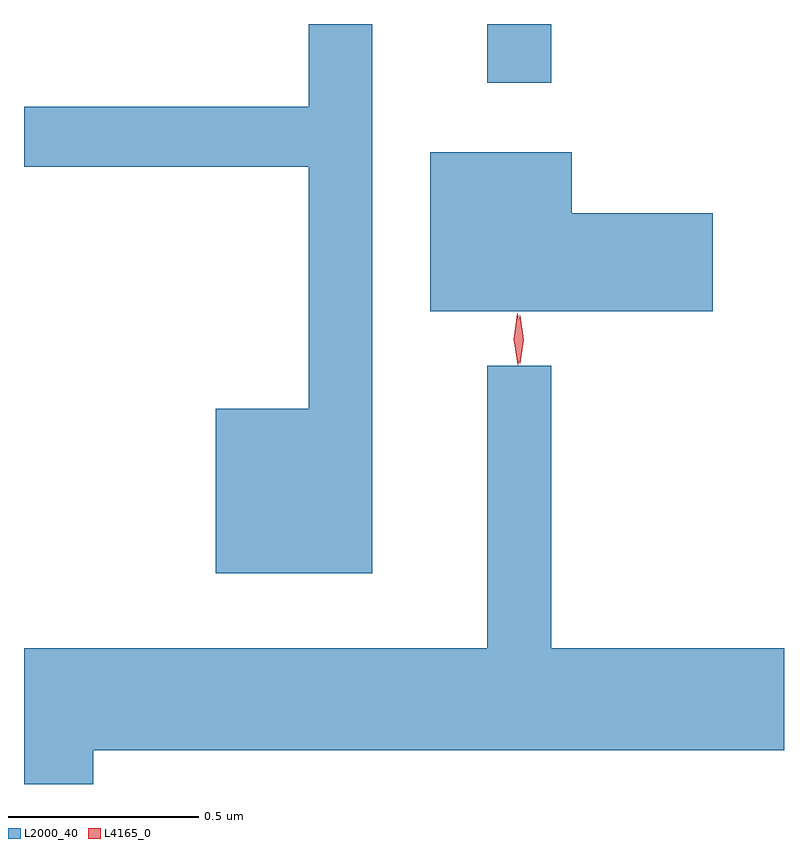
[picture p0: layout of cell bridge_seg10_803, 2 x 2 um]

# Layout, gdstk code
import gdstk
lib = gdstk.Library(unit=1e-6, precision=1e-09)
def R(c, l, rs):  # rectangles x0, y0, x1, y1
    for r in rs: c.add(gdstk.rectangle(r[:2], r[2:], *l))
def P(c, l, *ps):  # polygons
    for p in ps: c.add(gdstk.Polygon(p, *l))
L2000_40 = (2000, 40)
L4165_0 = (4165, 0)

bridge_seg10_803 = lib.new_cell('bridge_seg10_803')
R(bridge_seg10_803, L2000_40, [(536.061,2128.993,536.229,2129.147)])
P(bridge_seg10_803, L2000_40, [(535.759,2129.147),(535.591,2129.147),(535.591,2128.929),(534.842,2128.929),(534.842,2128.771),(535.591,2128.771),(535.591,2128.134),(535.346,2128.134),(535.346,2127.701),(535.759,2127.701)],
  [(536.654,2128.649),(536.284,2128.649),(536.284,2128.809),(535.911,2128.809),(535.911,2128.391),(536.654,2128.391)],
  [(535.024,2127.236),(536.842,2127.236),(536.842,2127.504),(536.229,2127.504),(536.229,2128.248),(536.061,2128.248),(536.061,2127.504),(534.842,2127.504),(534.842,2127.147),(535.024,2127.147)])
P(bridge_seg10_803, L4165_0, [(536.141,2128.25),(536.131,2128.318),(536.14,2128.385),(536.14,2128.386),(536.141,2128.385),(536.151,2128.318),(536.142,2128.25),(536.142,2128.25)],
  [(536.147,2128.253),(536.147,2128.254),(536.137,2128.316),(536.147,2128.379),(536.147,2128.38),(536.148,2128.379),(536.157,2128.316),(536.148,2128.254)])

lib.write_gds('bridge_seg10_803.gds')
